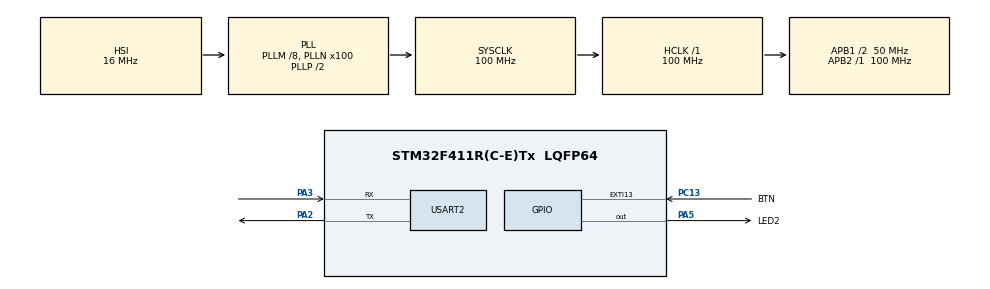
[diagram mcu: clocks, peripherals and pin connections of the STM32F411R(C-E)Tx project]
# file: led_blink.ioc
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Mcu.Family=STM32F4
Mcu.Name=STM32F411R(C-E)Tx
Mcu.Package=LQFP64
NVIC.EXTI15_10_IRQn=true\:0\:0\:false\:false\:true\:true\:true\:true
NVIC.PriorityGroup=NVIC_PRIORITYGROUP_4
PA13.Mode=Serial_Wire
PA13.Signal=SYS_JTMS-SWDIO
PA14.Mode=Serial_Wire
PA14.Signal=SYS_JTCK-SWCLK
PA2.Mode=Asynchronous
PA2.Signal=USART2_TX
PA3.Mode=Asynchronous
PA3.Signal=USART2_RX
PA5.GPIO_Label=LED2
PA5.GPIO_ModeDefaultOutputPP=GPIO_MODE_OUTPUT_OD
PA5.GPIO_PuPd=GPIO_NOPULL
PA5.PinState=GPIO_PIN_SET
PA5.Signal=GPIO_Output
PC13-ANTI_TAMP.GPIO_Label=BTN
PC13-ANTI_TAMP.GPIO_ModeDefaultEXTI=GPIO_MODE_IT_FALLING
PC13-ANTI_TAMP.GPIO_PuPd=GPIO_NOPULL
PC13-ANTI_TAMP.Signal=GPXTI13
PH0\ -\ OSC_IN.Mode=HSE-External-Clock-Source
PH0\ -\ OSC_IN.Signal=RCC_OSC_IN
PH1\ -\ OSC_OUT.Mode=HSE-External-Clock-Source
PH1\ -\ OSC_OUT.Signal=RCC_OSC_OUT
ProjectManager.HeapSize=0x200
ProjectManager.StackSize=0x400
ProjectManager.TargetToolchain=STM32CubeIDE
RCC.48MHZClocksFreq_Value=50000000
RCC.AHBFreq_Value=100000000
RCC.APB1CLKDivider=RCC_HCLK_DIV2
RCC.APB1Freq_Value=50000000
RCC.APB1TimFreq_Value=100000000
RCC.APB2Freq_Value=100000000
RCC.APB2TimFreq_Value=100000000
RCC.CortexFreq_Value=100000000
RCC.HCLKFreq_Value=100000000
RCC.HSE_VALUE=8000000
RCC.HSI_VALUE=16000000
RCC.LSE_VALUE=32768
RCC.PLLM=8
RCC.PLLN=100
RCC.SYSCLKFreq_VALUE=100000000
RCC.SYSCLKSource=RCC_SYSCLKSOURCE_PLLCLK
RCC.VCOOutputFreq_Value=200000000
USART2.VirtualMode=VM_ASYNC
board=custom

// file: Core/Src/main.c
/* USER CODE BEGIN Header */
/**
  ******************************************************************************
  * @file           : main.c
  * @brief          : Main program body
  ******************************************************************************
  * @attention
  *
  * Copyright (c) 2026 STMicroelectronics.
  * All rights reserved.
  *
  * This software is licensed under terms that can be found in the LICENSE file
  * in the root directory of this software component.
  * If no LICENSE file comes with this software, it is provided AS-IS.
  *
  ******************************************************************************
  */
/* USER CODE END Header */
#include "main.h"

/* USER CODE BEGIN Includes */
#include<stdio.h>
#include<string.h>
/* USER CODE END Includes */

UART_HandleTypeDef huart2;

/* USER CODE BEGIN PV */

uint8_t button_press =0;		// mereu initializat la 0
uint16_t blink_delays[] = {500, 250, 100};
uint8_t blink_delay = 0;

/* USER CODE END PV */

void SystemClock_Config(void);
static void MX_GPIO_Init(void);
static void MX_USART2_UART_Init(void);

/* USER CODE BEGIN 0 */

	// aici pot sa imi definesc niste functii proprii care sa faca diverse lucruri
	// vreau sa fac o functie de trimitere de mesaje prin UART
	// canalul de transmisie este USART 2, care e conectat la ST-LINK si de acolo treaba merge

	int send_message(char* ptr, int len){
		int status = HAL_UART_Transmit(&huart2, (uint8_t *) ptr, len, HAL_MAX_DELAY);
		// atentie insa, metoda asta de transmisie de mesaje este mancatoare de ceas
		// ideal ar fi sa o fac cu intrerupere sau cu DMA

		if(status == HAL_OK)
			return len;
		else return -1;
	}

	void HAL_GPIO_EXTI_Callback(uint16_t GPIO_Pin){
		if(GPIO_Pin == BTN_Pin){
			button_press = 1;
		}
	}

/* USER CODE END 0 */

int main(void)
{

  /* USER CODE BEGIN 1 */

	//aici pot sa imi declar variabile pe care sa le folosesc mai jos
	uint8_t mesaj1[] = "Mesaj trimis!\r\n";
	//uint8_t mesaj2[] = "Mesaj primit!\r\n";
	//uint8_t mesaj3[] = "Tick message!\r\n";
	uint8_t mesaj4[] = "Buton apasat!\r\n";

	uint8_t num_buffer[40];
	// in embedded, nu pot sa aflu dimensiunea unui array catre care pointeaza un pointer
	// pentru asta trebuie sa plimb impreuna cu array-ul si dimensiunea lui
	uint8_t len_mesaj1 = 15;
	//uint8_t len_mesaj2 = 15;
	//uint8_t len_mesaj3 = 15;
	uint8_t len_mesaj4 = 15;
  /* USER CODE END 1 */

  /* MCU Configuration--------------------------------------------------------*/

  /* Reset of all peripherals, Initializes the Flash interface and the Systick. */
  HAL_Init();

  /* Configure the system clock */
  SystemClock_Config();

  /* Initialize all configured peripherals */
  MX_GPIO_Init();
  MX_USART2_UART_Init();

  /* Infinite loop */
  /* USER CODE BEGIN WHILE */

  uint32_t now = 0;
  uint32_t last_blink = 0;
  uint32_t last_tick = 0;
  uint32_t loop_count = 0;

  send_message("Incepe exercitiul stm32_timer!\r\n", 32);

  while (1)
  {
    /* USER CODE END WHILE */

    /* USER CODE BEGIN 3 */
/*
	  // varianta asta nu e buna. Iroseste timp pe procesor si nu e ok. Vreau sa fac si altceva in timp
	  // ce procesorul executa acest blink.
	  HAL_GPIO_TogglePin(LED2_GPIO_Port, LED2_Pin);
	  HAL_Delay(100);
*/

	  // varinata in care ma folosesc de ceasul intern'
	  now = HAL_GetTick();	// returneaza uwTick, adica timestampul curent tinut in RAM

	  // ideea este ca uwTick este o variabila de 32 de biti care se incrementeaza de indata ce
	  // un timer intern ajunge la 0 (dintr-o valoare initiala, de ex 100.000 se scade mereu 1 cu fiecare bataie
	  // de ceas pana ajunge la 0, apoi se arunca o intrerupere care incrementeaza acea variabila din RAM

	  // varianila now se incrementeaza la fiecare 1 milisecunda

	  if(now-last_blink > blink_delays[blink_delay]){
		  // vreau sa trimit si un mesaj prin uart catre laptop
		  send_message(mesaj1, len_mesaj1);

		  HAL_GPIO_TogglePin(LED2_GPIO_Port, LED2_Pin);
		  last_blink = now;		// dau variabilei last_blink valoarea anterioara
	  }

	  if (now -last_tick >=1000){
		  int len_num = sprintf(num_buffer, "%lu (loop count = %lu)\r\n", now/1000, loop_count);
		  loop_count = 0;
		  send_message(num_buffer, len_num);
		  last_tick = now;
	  }

	  // mai departe

	  //lucrez de aici incolo la partea de primire intreruperi prin EXTI (external interrupt)
	  if(button_press == 1){
		  send_message(mesaj4, len_mesaj4);
		  ++blink_delay;
		  if(blink_delay>= sizeof(blink_delays)/sizeof(blink_delays[0]))
			  blink_delay = 0;
		  button_press = 0;
	  }

	  ++loop_count;

  }
  /* USER CODE END 3 */
}

void SystemClock_Config(void)
{
  RCC_OscInitTypeDef RCC_OscInitStruct = {0};
  RCC_ClkInitTypeDef RCC_ClkInitStruct = {0};

  /** Configure the main internal regulator output voltage
  */
  __HAL_RCC_PWR_CLK_ENABLE();
  __HAL_PWR_VOLTAGESCALING_CONFIG(PWR_REGULATOR_VOLTAGE_SCALE1);

  /** Initializes the RCC Oscillators according to the specified parameters
  * in the RCC_OscInitTypeDef structure.
  */
  RCC_OscInitStruct.OscillatorType = RCC_OSCILLATORTYPE_HSI;
  RCC_OscInitStruct.HSIState = RCC_HSI_ON;
  RCC_OscInitStruct.HSICalibrationValue = RCC_HSICALIBRATION_DEFAULT;
  RCC_OscInitStruct.PLL.PLLState = RCC_PLL_ON;
  RCC_OscInitStruct.PLL.PLLSource = RCC_PLLSOURCE_HSI;
  RCC_OscInitStruct.PLL.PLLM = 8;
  RCC_OscInitStruct.PLL.PLLN = 100;
  RCC_OscInitStruct.PLL.PLLP = RCC_PLLP_DIV2;
  RCC_OscInitStruct.PLL.PLLQ = 4;
  if (HAL_RCC_OscConfig(&RCC_OscInitStruct) != HAL_OK)
  {
    Error_Handler();
  }

  /** Initializes the CPU, AHB and APB buses clocks
  */
  RCC_ClkInitStruct.ClockType = RCC_CLOCKTYPE_HCLK|RCC_CLOCKTYPE_SYSCLK
                              |RCC_CLOCKTYPE_PCLK1|RCC_CLOCKTYPE_PCLK2;
  RCC_ClkInitStruct.SYSCLKSource = RCC_SYSCLKSOURCE_PLLCLK;
  RCC_ClkInitStruct.AHBCLKDivider = RCC_SYSCLK_DIV1;
  RCC_ClkInitStruct.APB1CLKDivider = RCC_HCLK_DIV2;
  RCC_ClkInitStruct.APB2CLKDivider = RCC_HCLK_DIV1;

  if (HAL_RCC_ClockConfig(&RCC_ClkInitStruct, FLASH_LATENCY_3) != HAL_OK)
  {
    Error_Handler();
  }
}

static void MX_USART2_UART_Init(void)
{

  huart2.Instance = USART2;
  huart2.Init.BaudRate = 115200;
  huart2.Init.WordLength = UART_WORDLENGTH_8B;
  huart2.Init.StopBits = UART_STOPBITS_1;
  huart2.Init.Parity = UART_PARITY_NONE;
  huart2.Init.Mode = UART_MODE_TX_RX;
  huart2.Init.HwFlowCtl = UART_HWCONTROL_NONE;
  huart2.Init.OverSampling = UART_OVERSAMPLING_16;
  if (HAL_UART_Init(&huart2) != HAL_OK)
  {
    Error_Handler();
  }

}

static void MX_GPIO_Init(void)
{
  GPIO_InitTypeDef GPIO_InitStruct = {0};

  /* GPIO Ports Clock Enable */
  __HAL_RCC_GPIOC_CLK_ENABLE();
  __HAL_RCC_GPIOH_CLK_ENABLE();
  __HAL_RCC_GPIOA_CLK_ENABLE();

  /*Configure GPIO pin Output Level */
  HAL_GPIO_WritePin(LED2_GPIO_Port, LED2_Pin, GPIO_PIN_SET);

  /*Configure GPIO pin : BTN_Pin */
  GPIO_InitStruct.Pin = BTN_Pin;
  GPIO_InitStruct.Mode = GPIO_MODE_IT_FALLING;
  GPIO_InitStruct.Pull = GPIO_NOPULL;
  HAL_GPIO_Init(BTN_GPIO_Port, &GPIO_InitStruct);

  /*Configure GPIO pin : LED2_Pin */
  GPIO_InitStruct.Pin = LED2_Pin;
  GPIO_InitStruct.Mode = GPIO_MODE_OUTPUT_OD;
  GPIO_InitStruct.Pull = GPIO_NOPULL;
  GPIO_InitStruct.Speed = GPIO_SPEED_FREQ_LOW;
  HAL_GPIO_Init(LED2_GPIO_Port, &GPIO_InitStruct);

  /* EXTI interrupt init*/
  HAL_NVIC_SetPriority(EXTI15_10_IRQn, 0, 0);
  HAL_NVIC_EnableIRQ(EXTI15_10_IRQn);

}

void Error_Handler(void)
{
  __disable_irq();
  while (1)
  {
  }
}
